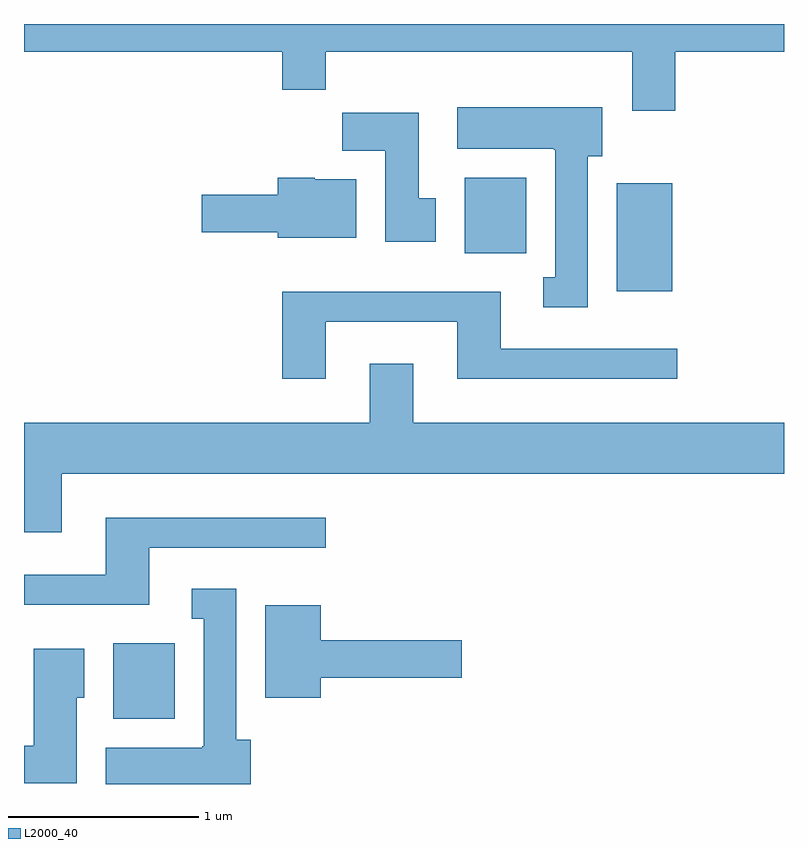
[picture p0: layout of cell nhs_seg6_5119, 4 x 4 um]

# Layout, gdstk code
import gdstk
lib = gdstk.Library(unit=1e-6, precision=1e-09)
def R(c, l, rs):  # rectangles x0, y0, x1, y1
    for r in rs: c.add(gdstk.rectangle(r[:2], r[2:], *l))
def P(c, l, *ps):  # polygons
    for p in ps: c.add(gdstk.Polygon(p, *l))
L2000_40 = (2000, 40)

nhs_seg6_5119 = lib.new_cell('nhs_seg6_5119')
R(nhs_seg6_5119, L2000_40, [(342.081,1566.506,342.404,1566.904), (344.731,1568.756,345.024,1569.324), (343.931,1568.956,344.254,1569.354)])
P(nhs_seg6_5119, L2000_40, [(345.039,1570.016),(345.611,1570.016),(345.611,1570.162),(341.611,1570.162),(341.611,1570.016),(342.971,1570.016),(342.971,1569.816),(343.199,1569.816),(343.199,1570.016),(344.811,1570.016),(344.811,1569.706),(345.039,1569.706)],
  [(344.579,1569.466),(344.654,1569.466),(344.654,1569.724),(343.891,1569.724),(343.891,1569.506),(344.4,1569.506),(344.4,1569.5),(344.406,1569.5),(344.406,1568.829),(344.343,1568.829),(344.343,1568.671),(344.579,1568.671)],
  [(343.779,1569.244),(343.689,1569.244),(343.689,1569.694),(343.286,1569.694),(343.286,1569.496),(343.511,1569.496),(343.511,1569.016),(343.779,1569.016)],
  [(343.359,1569.344),(343.14,1569.344),(343.14,1569.354),(342.946,1569.354),(342.946,1569.264),(342.546,1569.264),(342.546,1569.066),(342.946,1569.066),(342.946,1569.036),(343.359,1569.036)],
  [(343.199,1568.596),(343.891,1568.596),(343.891,1568.296),(345.048,1568.296),(345.048,1568.454),(344.119,1568.454),(344.119,1568.754),(342.971,1568.754),(342.971,1568.296),(343.199,1568.296)],
  [(341.611,1567.486),(341.809,1567.486),(341.809,1567.796),(345.611,1567.796),(345.611,1568.064),(343.659,1568.064),(343.659,1568.374),(343.431,1568.374),(343.431,1568.064),(341.611,1568.064)],
  [(342.269,1567.406),(343.198,1567.406),(343.198,1567.564),(342.041,1567.564),(342.041,1567.264),(341.611,1567.264),(341.611,1567.106),(342.269,1567.106)],
  [(342.804,1566.394),(342.729,1566.394),(342.729,1567.189),(342.493,1567.189),(342.493,1567.031),(342.556,1567.031),(342.556,1566.36),(342.55,1566.36),(342.55,1566.354),(342.041,1566.354),(342.041,1566.162),(342.804,1566.162)],
  [(343.174,1566.721),(343.914,1566.721),(343.914,1566.919),(343.174,1566.919),(343.174,1567.104),(342.881,1567.104),(342.881,1566.616),(343.174,1566.616)],
  [(341.889,1566.616),(341.929,1566.616),(341.929,1566.874),(341.661,1566.874),(341.661,1566.364),(341.611,1566.364),(341.611,1566.166),(341.889,1566.166)])

lib.write_gds('nhs_seg6_5119.gds')
